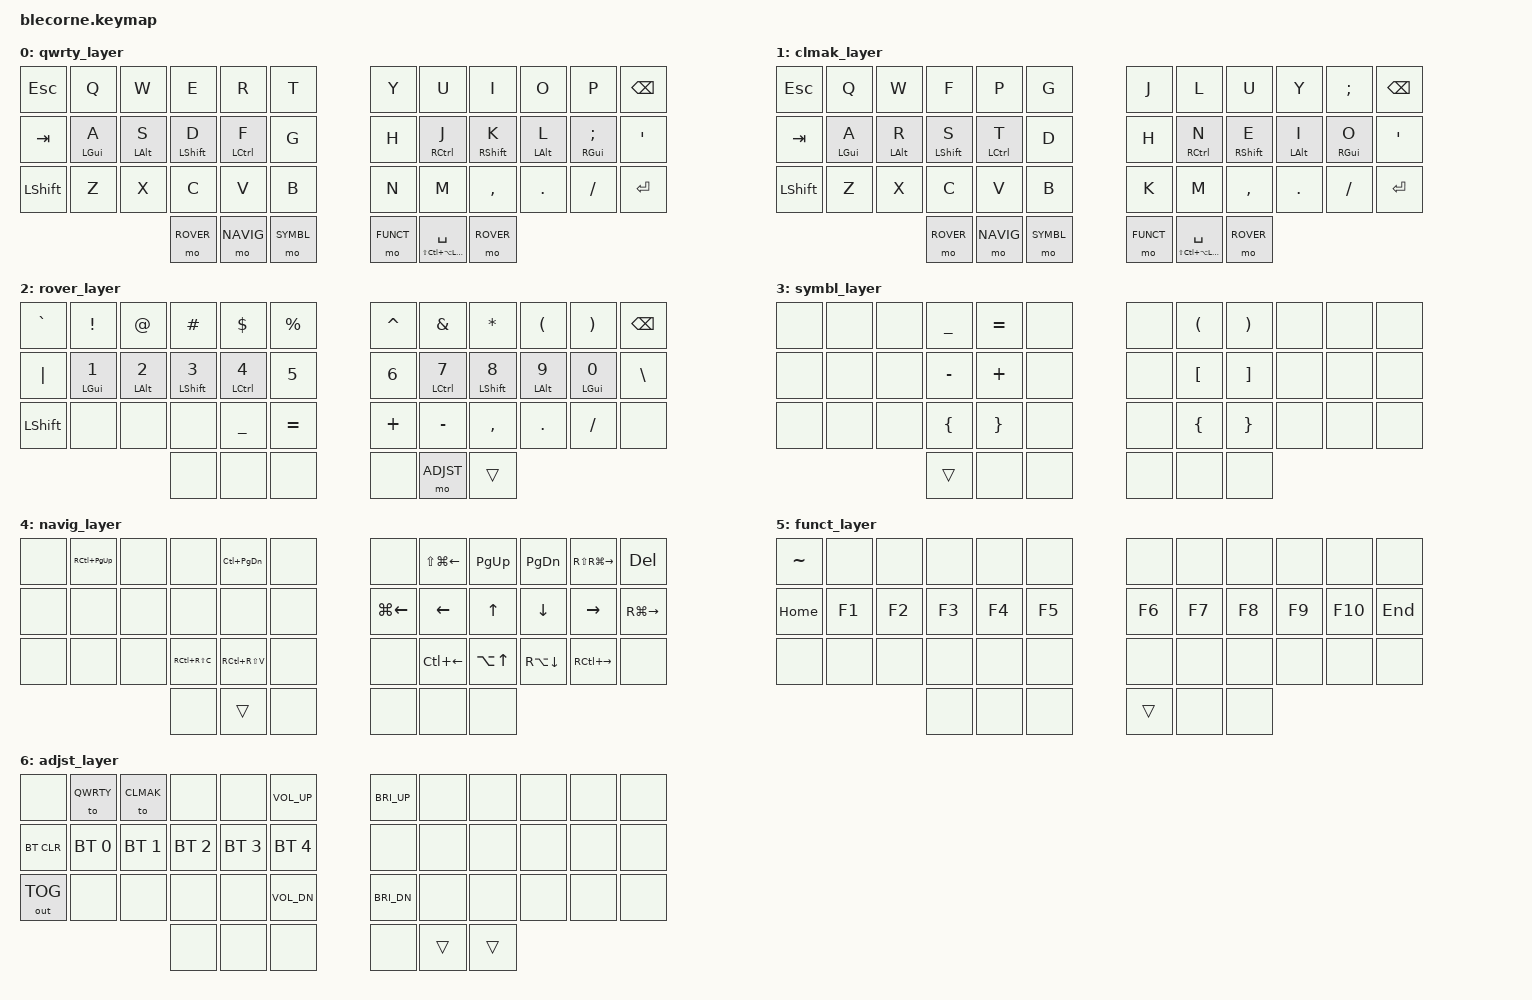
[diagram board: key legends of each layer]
/*
 * Port
 *
 * SPDX-License-Identifier: MIT
 */

#include <behaviors.dtsi>
#include <dt-bindings/zmk/keys.h>
#include <dt-bindings/zmk/bt.h>
#include <dt-bindings/zmk/outputs.h>

#define QWRTY 0
#define CLMAK 1
#define ROVER 2
#define SYMBL 3
#define NAVIG 4
#define FUNCT 5
#define ADJST 6

#define HYPER LS(LC(LA(LGUI)))

// Key positions (corne 3x6+3)
// |  0  1  2  3  4  5 |  6  7  8  9 10 11 |
// | 12 13 14 15 16 17 | 18 19 20 21 22 23 |
// | 24 25 26 27 28 29 | 30 31 32 33 34 35 |
//          | 36 37 38 | 39 40 41 |
#define KEYS_L 0 1 2 3 4 5 12 13 14 15 16 17 24 25 26 27 28 29
#define KEYS_R 6 7 8 9 10 11 18 19 20 21 22 23 30 31 32 33 34 35
#define THUMBS 36 37 38 39 40 41

/ {
        behaviors {
                // Home-row mods: TAPPING_TERM 200 + FLOW_TAP_TERM 150 from QMK. flavor =
                // "balanced" + hold-trigger-on-release: the cross-hand check is deferred to key
                // release, so same-hand mod stacks (ctrl on N + shift on E) still resolve as
                // holds once a cross-hand key follows. Without it the second same-hand mod
                // press instantly settles the first one as a tap.
                hml: home_row_mod_left {
                        compatible = "zmk,behavior-hold-tap";
                        #binding-cells = <2>;
                        flavor = "balanced";
                        tapping-term-ms = <200>;
                        quick-tap-ms = <200>;
                        require-prior-idle-ms = <150>;
                        bindings = <&kp>, <&kp>;
                        hold-trigger-key-positions = <KEYS_R THUMBS>;
                        hold-trigger-on-release;
                };
                thm: thumb_mod_tap {
                        compatible = "zmk,behavior-hold-tap";
                        #binding-cells = <2>;
                        flavor = "balanced";
                        tapping-term-ms = <200>;
                        quick-tap-ms = <200>;
                        require-prior-idle-ms = <150>;
                        bindings = <&kp>, <&kp>;
                };
                hmr: home_row_mod_right {
                        compatible = "zmk,behavior-hold-tap";
                        #binding-cells = <2>;
                        flavor = "balanced";
                        tapping-term-ms = <200>;
                        quick-tap-ms = <200>;
                        require-prior-idle-ms = <150>;
                        bindings = <&kp>, <&kp>;
                        hold-trigger-key-positions = <KEYS_L THUMBS>;
                        hold-trigger-on-release;
                };
        };

        keymap {
                compatible = "zmk,keymap";

                qwrty_layer {
// -----------------------------------------------------------------------------------------
// | ESC  |  Q  |  W    |  E    |  F    |  T  |   |  H  |  U    |  I    |  O    |  P    | BSPC |
// | TAB  |A/GUI|S/ALT  |D/SHFT |F/CTRL |  G  |   |  H  |J/CTRL |K/SHFT |L/ALT  |;/GUI  |  '   |
// | SHFT |  Z  |  X    |  C    |  V    |  B  |   |  N  |  M    |  ,    |  .    |  /    | ENT  |
//                      | ROVER | NAVIG |SYMBL|   |FUNCT|SPC/HYP| ROVER |
                        bindings = <
   &kp ESC   &kp Q         &kp W        &kp E         &kp R         &kp T   &kp Y &kp U         &kp I         &kp O       &kp P            &kp BSPC
   &kp TAB   &hml LGUI A   &hml LALT S  &hml LSHFT D  &hml LCTRL F  &kp G   &kp H &hmr RCTRL J  &hmr RSHFT K  &hmr LALT L &hmr RGUI SEMI   &kp SQT
   &kp LSHFT &kp Z         &kp X        &kp C         &kp V         &kp B   &kp N &kp M         &kp COMMA     &kp DOT     &kp FSLH         &kp RET
                          &mo ROVER &mo NAVIG &mo SYMBL   &mo FUNCT &thm HYPER SPACE &mo ROVER
                        >;
                };

                clmak_layer {
// -----------------------------------------------------------------------------------------
// | ESC  |  Q  |  W    |  F    |  P    |  G  |   |  J  |  L    |  U    |  Y    |  ;    | BSPC |
// | TAB  |A/GUI|R/ALT  |S/SHFT |T/CTRL |  D  |   |  H  |N/CTRL |E/SHFT |I/ALT  |O/GUI  |  '   |
// | SHFT |  Z  |  X    |  C    |  V    |  B  |   |  K  |  M    |  ,    |  .    |  /    | ENT  |
                        bindings = <
   &kp ESC   &kp Q         &kp W        &kp F         &kp P         &kp G   &kp J &kp L         &kp U        &kp Y        &kp SEMI     &kp BSPC
   &kp TAB   &hml LGUI A   &hml LALT R  &hml LSHFT S  &hml LCTRL T  &kp D   &kp H &hmr RCTRL N  &hmr RSHFT E &hmr LALT I  &hmr RGUI O &kp SQT
   &kp LSHFT &kp Z         &kp X        &kp C         &kp V         &kp B   &kp K &kp M         &kp COMMA    &kp DOT      &kp FSLH     &kp RET
                          &mo ROVER &mo NAVIG &mo SYMBL   &mo FUNCT &thm HYPER SPACE &mo ROVER
                        >;
                };

                rover_layer {
// -----------------------------------------------------------------------------------------
// |  `   |  !  |  @    |  #    |  $    |  %  |   |  ^  |  &    |  *    |  (    |  )    | BSPC |
// |  |   |1/GUI|2/ALT  |3/SHFT |4/CTRL |  5  |   |  6  |7/CTRL |8/SHFT |9/ALT  |0/GUI  |  \   |
// | SHFT |     |       |       |  _    |  =  |   |  +  |  -    |  ,    |  .    |  /    |      |
//                      |       |       |     |   |     | ADJST |       |
                        bindings = <
   &kp GRAVE &kp EXCL      &kp AT        &kp HASH      &kp DLLR      &kp PRCNT   &kp CARET &kp AMPS      &kp ASTRK     &kp LPAR     &kp RPAR     &kp BSPC
   &kp PIPE  &hml LGUI N1  &hml LALT N2  &hml LSHFT N3 &hml LCTRL N4 &kp N5      &kp N6    &hmr LCTRL N7 &hmr LSHFT N8 &hmr LALT N9 &hmr LGUI N0 &kp BSLH
   &kp LSHFT &none         &none         &none         &kp UNDER     &kp EQUAL   &kp PLUS  &kp MINUS     &kp COMMA     &kp DOT      &kp FSLH     &none
                                              &none &none &none   &none &mo ADJST &trans
                        >;
                };

                symbl_layer {
// -----------------------------------------------------------------------------------------
// |      |     |       |  _    |  =    |     |   |     |  (    |  )    |       |       |      |
// |      |     |       |  -    |  +    |     |   |     |  [    |  ]    |       |       |      |
// |      |     |       |  {    |  }    |     |   |     |  {    |  }    |       |       |      |
                        bindings = <
   &none &none &none &kp UNDER &kp EQUAL &none   &none &kp LPAR &kp RPAR &none &none &none
   &none &none &none &kp MINUS &kp PLUS  &none   &none &kp LBKT &kp RBKT &none &none &none
   &none &none &none &kp LBRC  &kp RBRC  &none   &none &kp LBRC &kp RBRC &none &none &none
                       &trans &none &none   &none &none &none
                        >;
                };

                navig_layer {
// -----------------------------------------------------------------------------------------
// |      |C-PgU|       |       |C-PgD  |     |   |     |SG-LFT | PGUP  | PGDN  |SG-RGT | DEL  |
// |      |     |       |       |       |     |   |G-LFT| LEFT  |  UP   | DOWN  | RIGHT |G-RGT |
// |      |     |       | CS-C  | CS-V  |     |   |     |C-LFT  | A-UP  | A-DWN |C-RGT  |      |
                        bindings = <
   &none &kp RC(PG_UP) &none &none         &kp LC(PG_DN) &none   &none            &kp LS(LG(LEFT)) &kp PG_UP  &kp PG_DN    &kp RS(RG(RIGHT)) &kp DEL
   &none &none         &none &none         &none         &none   &kp LG(LEFT)     &kp LEFT         &kp UP     &kp DOWN     &kp RIGHT         &kp RG(RIGHT)
   &none &none         &none &kp RC(RS(C)) &kp RC(RS(V)) &none   &none            &kp LC(LEFT)     &kp LA(UP) &kp RA(DOWN) &kp RC(RIGHT)     &none
                                    &none &trans &none   &none &none &none
                        >;
                };

                funct_layer {
// -----------------------------------------------------------------------------------------
// |  ~   |     |       |       |       |     |   |     |       |       |       |       |      |
// | HOME | F1  |  F2   |  F3   |  F4   | F5  |   | F6  |  F7   |  F8   |  F9   |  F10  | END  |
// |      |     |       |       |       |     |   |     |       |       |       |       |      |
                        bindings = <
   &kp TILDE &none   &none  &none  &none  &none    &none   &none  &none  &none  &none   &none
   &kp HOME  &kp F1  &kp F2 &kp F3 &kp F4 &kp F5   &kp F6  &kp F7 &kp F8 &kp F9 &kp F10 &kp END
   &none     &none   &none  &none  &none  &none    &none   &none  &none  &none  &none   &none
                          &none &none &none   &trans &none &none
                        >;
                };

                adjst_layer {
// -----------------------------------------------------------------------------------------
// |      |QWRTY| CLMAK |       |       |VOLUP|   |BRIUP|       |       |       |       |      |
// |BT CLR| BT0 |  BT1  |  BT2  |  BT3  | BT4 |   |     |       |       |       |       |      |
// |OUTTOG|     |       |       |       |VOLDN|   |BRIDN|       |       |       |       |      |
                        bindings = <
   &none       &to QWRTY    &to CLMAK    &none        &none        &kp C_VOL_UP   &kp C_BRI_UP &none &none &none &none &none
   &bt BT_CLR  &bt BT_SEL 0 &bt BT_SEL 1 &bt BT_SEL 2 &bt BT_SEL 3 &bt BT_SEL 4   &none        &none &none &none &none &none
   &out OUT_TOG &none       &none        &none        &none        &kp C_VOL_DN   &kp C_BRI_DN &none &none &none &none &none
                                      &none &none &none   &none &trans &trans
                        >;
                };
        };
};

